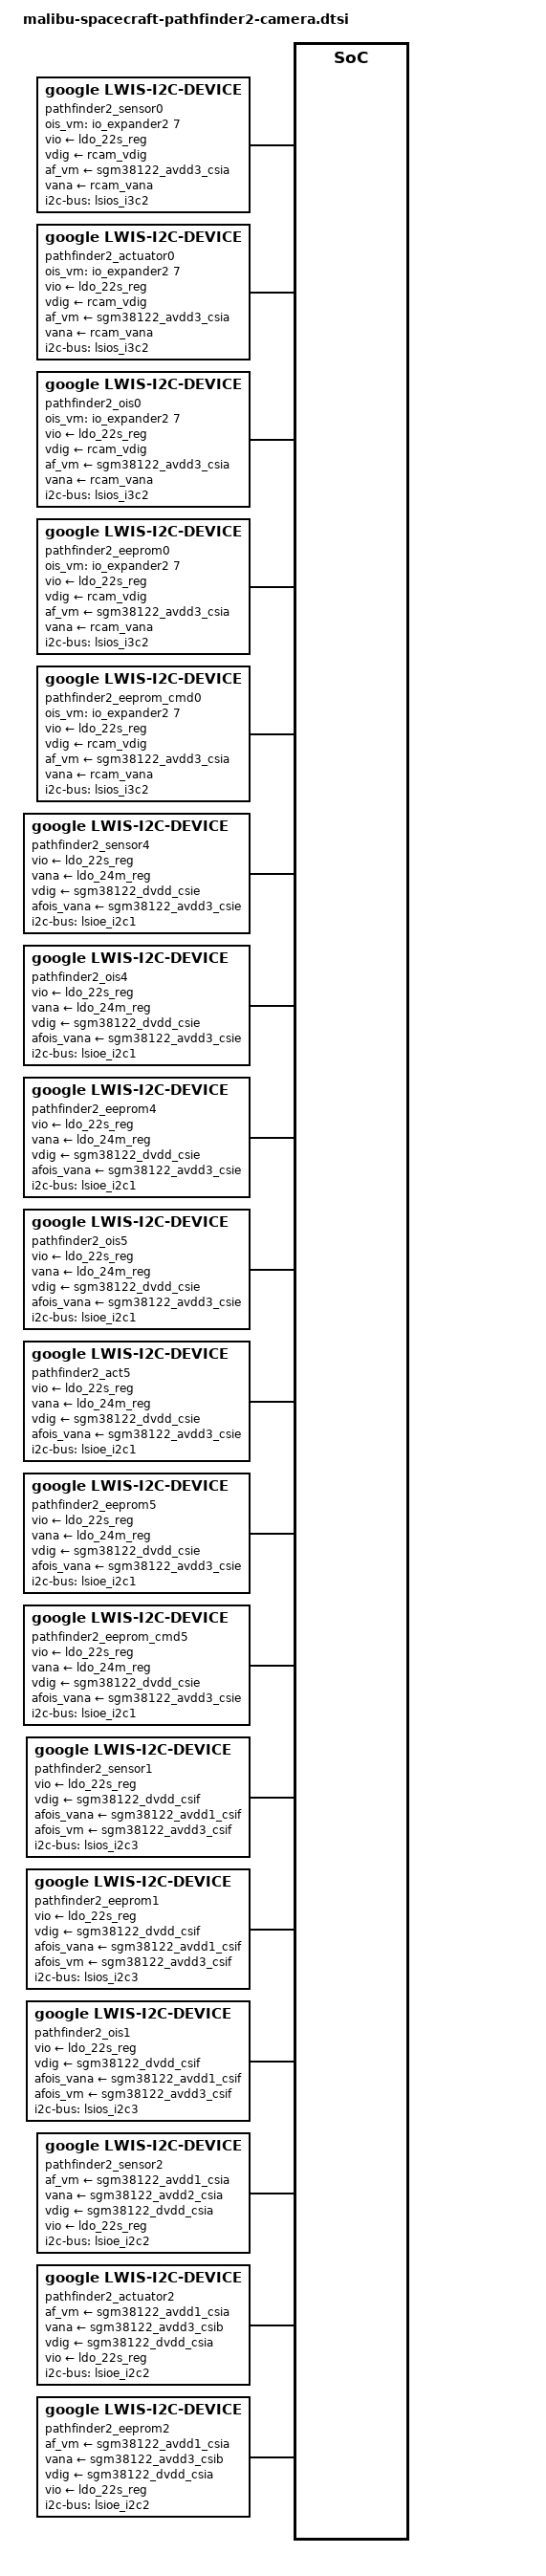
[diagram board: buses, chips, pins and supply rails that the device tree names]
// SPDX-License-Identifier: GPL-2.0-only
/*
 * camera lwis device tree for spacecraft
 *
 * Copyright 2025 Google LLC.
 *
 */

#include <dt-bindings/gpio/gpio.h>

/ {
	fragment@lwiscamera {
		target-path = "/";
		__overlay__ {
			/* Power sequence for REAR MAIN CAMERA */
			pathfinder2_rear_main_camera_power_seq: pathfinder2_module_power_seq@0 {
				power-up-seqs =
					"vio",
					"vana",
					"vdig",
					"vm_vana_enable",
					"af_vm",
					"ois_vm",
					"mclk_on",
					"vsync_on",
					"resume";
				power-up-seq-types =
					"regulator",
					"regulator",
					"regulator",
					"gpio",
					"regulator",
					"gpio",
					"pinctrl",
					"pinctrl",
					"controller";
				power-up-seq-delays-us =
					<1500
					 0
					 1000
					 1000
					 0
					 0
					 6100
					 0
					 0>;

				power-down-seqs =
					"suspend",
					"vsync_off",
					"mclk_off",
					"ois_vm",
					"af_vm",
					"vm_vana_enable",
					"vdig",
					"vana",
					"vio";

				power-down-seq-types =
					"controller",
					"pinctrl",
					"pinctrl",
					"gpio",
					"regulator",
					"gpio",
					"regulator",
					"regulator",
					"regulator";
				power-down-seq-delays-us =
					<0
					 0
					 1000
					 0
					 1000
					 1000
					 0
					 1000
					 200>;
			};

			/* REAR CAMERA BASTET CSIB */
			pathfinder2_sensor0: pathfinder2_sensor@0 {
				compatible = "google,lwis-i2c-device";

				/* Device node name */
				node-name = "sensor-bastet";

				/* I2C */
				i2c-bus = <&lsios_i3c2>;
				i2c-addr = <0x3D>;

				/* Power up mode */
				lwis,power-up-to-suspend;

				/* Registers */
				reg-addr-bitwidth = <16>;
				reg-value-bitwidth = <16>;

				/* GPIOs */
				reset-gpios = <AP2RCAM_RST_L(GPIO_ACTIVE_HIGH)>;
				vm_vana_enable-gpios = <PMICM2RCAM_AFOIS_VANA_EN(GPIO_ACTIVE_HIGH)>;

				/* Power supplies */
				vio-supply = <&ldo_22s_reg>;
				vdig-supply = <&rcam_vdig>;
				af_vm-supply = <&sgm38122_avdd3_csia>;
				ois_vm-gpios = <&io_expander2 7 GPIO_ACTIVE_HIGH>;
				vana-supply = <&rcam_vana>;

				/* Power domains: cpm_clk */
				power-domains = <&sswrp_lsio_s_pd>;

				clocks = <&lsio_s_m4_clk>;
				clock-names = "MCLK4";
				clock-rates = <24576000>;

				/* MCLK + VSYNC Control*/
				pinctrl-names = "mclk_on", "mclk_off", "vsync_on", "vsync_off";
				pinctrl-0 = <&ap2rcam_mclk_24mhz>;
				pinctrl-1 = <&ap2rcam_mclk_24mhz_sleep>;
				pinctrl-2 = <&rcam2ap_vsync>;
				pinctrl-3 = <&rcam2ap_vsync_sleep>;

				/* Power sequence */
				power-seq = <&pathfinder2_rear_main_camera_power_seq>;

				/* resume sequence */
				resume-seqs = "reset";
				resume-seq-types = "gpio";
				resume-seq-delays-us = <13000>;

				/* suspend sequence */
				suspend-seqs = "reset";
				suspend-seq-types = "gpio";
				suspend-seq-delays-us = <1000>;

				/* Thread priority */
				transaction-thread-priority = <99>;

				i2c-lock-group-id = <0>;
				transaction-process-limit = <20>;
			};

			/* Actuator CORNERFOLK for BASTET */
			pathfinder2_actuator0: pathfinder2_actuator@0 {
				compatible = "google,lwis-i2c-device";

				/* Device node name */
				node-name = "act-cornerfolk-bastet";

				/* I2C */
				i2c-bus = <&lsios_i3c2>;
				i2c-addr = <0x0C>;

				/* Registers */
				reg-addr-bitwidth = <8>;
				reg-value-bitwidth = <8>;

				/* GPIOs */
				reset-gpios = <AP2RCAM_RST_L(GPIO_ACTIVE_HIGH)>;
				vm_vana_enable-gpios = <PMICM2RCAM_AFOIS_VANA_EN(GPIO_ACTIVE_HIGH)>;

				/* Power supplies */
				vio-supply = <&ldo_22s_reg>;
				vdig-supply = <&rcam_vdig>;
				af_vm-supply = <&sgm38122_avdd3_csia>;
				ois_vm-gpios = <&io_expander2 7 GPIO_ACTIVE_HIGH>;
				vana-supply = <&rcam_vana>;

				/* MCLK + VSYNC Control*/
				pinctrl-names = "mclk_on", "mclk_off", "vsync_on", "vsync_off";
				pinctrl-0 = <&ap2rcam_mclk_24mhz>;
				pinctrl-1 = <&ap2rcam_mclk_24mhz_sleep>;
				pinctrl-2 = <&rcam2ap_vsync>;
				pinctrl-3 = <&rcam2ap_vsync_sleep>;

				/* Power sequence */
				power-seq = <&pathfinder2_rear_main_camera_power_seq>;

				/* Thread priority */
				transaction-thread-priority = <99>;

				i2c-lock-group-id = <0>;
			};

			/* OIS VESTA for BASTET */
			pathfinder2_ois0: pathfinder2_ois@0 {
				compatible = "google,lwis-i2c-device";

				/* Device node name */
				node-name = "ois-vesta";

				/* I2C */
				i2c-bus = <&lsios_i3c2>;
				i2c-addr = <0x3C>;

				/* Registers */
				reg-addr-bitwidth = <16>;
				reg-value-bitwidth = <8>;

				/* GPIOs */
				reset-gpios = <AP2RCAM_RST_L(GPIO_ACTIVE_HIGH)>;
				vm_vana_enable-gpios = <PMICM2RCAM_AFOIS_VANA_EN(GPIO_ACTIVE_HIGH)>;

				/* Power supplies */
				vio-supply = <&ldo_22s_reg>;
				vdig-supply = <&rcam_vdig>;
				af_vm-supply = <&sgm38122_avdd3_csia>;
				ois_vm-gpios = <&io_expander2 7 GPIO_ACTIVE_HIGH>;
				vana-supply = <&rcam_vana>;

				/* MCLK + VSYNC Control*/
				pinctrl-names = "mclk_on", "mclk_off", "vsync_on", "vsync_off";
				pinctrl-0 = <&ap2rcam_mclk_24mhz>;
				pinctrl-1 = <&ap2rcam_mclk_24mhz_sleep>;
				pinctrl-2 = <&rcam2ap_vsync>;
				pinctrl-3 = <&rcam2ap_vsync_sleep>;

				/* Power sequence */
				power-seq = <&pathfinder2_rear_main_camera_power_seq>;

				/* Thread priority */
				transaction-thread-priority = <99>;

				i2c-lock-group-id = <0>;
			};

			/* EEPROM VESTA for BASTET */
			pathfinder2_eeprom0: pathfinder2_eeprom@0 {
				compatible = "google,lwis-i2c-device";

				/* Device node name */
				node-name = "eeprom-vesta";

				/* I2C */
				i2c-bus = <&lsios_i3c2>;
				i2c-addr = <0x51>;

				/* Registers */
				reg-addr-bitwidth = <16>;
				reg-value-bitwidth = <32>;

				/* GPIOs */
				reset-gpios = <AP2RCAM_RST_L(GPIO_ACTIVE_HIGH)>;
				vm_vana_enable-gpios = <PMICM2RCAM_AFOIS_VANA_EN(GPIO_ACTIVE_HIGH)>;

				/* Power supplies */
				vio-supply = <&ldo_22s_reg>;
				vdig-supply = <&rcam_vdig>;
				af_vm-supply = <&sgm38122_avdd3_csia>;
				ois_vm-gpios = <&io_expander2 7 GPIO_ACTIVE_HIGH>;
				vana-supply = <&rcam_vana>;

				/* MCLK + VSYNC Control*/
				pinctrl-names = "mclk_on", "mclk_off", "vsync_on", "vsync_off";
				pinctrl-0 = <&ap2rcam_mclk_24mhz>;
				pinctrl-1 = <&ap2rcam_mclk_24mhz_sleep>;
				pinctrl-2 = <&rcam2ap_vsync>;
				pinctrl-3 = <&rcam2ap_vsync_sleep>;

				/* Power sequence */
				power-seq = <&pathfinder2_rear_main_camera_power_seq>;

				/* Thread priority */
				/* Match with other bus devices */
				transaction-thread-priority = <99>;

				i2c-lock-group-id = <0>;
			};

			pathfinder2_eeprom_cmd0: pathfinder2_eeprom_cmd@0 {
				compatible = "google,lwis-i2c-device";

				/* Device node name */
				node-name = "eeprom-cmd-vesta";

				/* I2C */
				i2c-bus = <&lsios_i3c2>;
				i2c-addr = <0x51>;

				/* Registers */
				reg-addr-bitwidth = <16>;
				reg-value-bitwidth = <8>;

				/* GPIOs */
				reset-gpios = <AP2RCAM_RST_L(GPIO_ACTIVE_HIGH)>;
				vm_vana_enable-gpios = <PMICM2RCAM_AFOIS_VANA_EN(GPIO_ACTIVE_HIGH)>;

				/* Power supplies */
				vio-supply = <&ldo_22s_reg>;
				vdig-supply = <&rcam_vdig>;
				af_vm-supply = <&sgm38122_avdd3_csia>;
				ois_vm-gpios = <&io_expander2 7 GPIO_ACTIVE_HIGH>;
				vana-supply = <&rcam_vana>;

				/* MCLK + VSYNC Control*/
				pinctrl-names = "mclk_on", "mclk_off", "vsync_on", "vsync_off";
				pinctrl-0 = <&ap2rcam_mclk_24mhz>;
				pinctrl-1 = <&ap2rcam_mclk_24mhz_sleep>;
				pinctrl-2 = <&rcam2ap_vsync>;
				pinctrl-3 = <&rcam2ap_vsync_sleep>;

				/* Power sequence */
				power-seq = <&pathfinder2_rear_main_camera_power_seq>;

				/* Thread priority */
				/* Match with other bus devices */
				transaction-thread-priority = <99>;

				i2c-lock-group-id = <0>;
			};

			/* Power sequence for REAR TELE CAMERA */
			pathfinder2_rear_tele_camera_power_seq: pathfinder2_module_power_seq@4 {
				power-up-seqs =
					"vio",
					"vana",
					"vdig",
					"afois_vana",
					"af_vm",
					"reset",
					"mclk_on",
					"resume";
				power-up-seq-types =
					"regulator",
					"regulator",
					"regulator",
					"regulator",
					"regulator",
					"gpio",
					"pinctrl",
					"controller";
				power-up-seq-delays-us =
					<2500
					 0
					 0
					 1000
					 1000
					 0
					 1000
					 0>;

				power-down-seqs =
					"suspend",
					"mclk_off",
					"reset",
					"af_vm",
					"afois_vana",
					"vdig",
					"vana",
					"vio";
				power-down-seq-types =
					"controller",
					"pinctrl",
					"gpio",
					"regulator",
					"regulator",
					"regulator",
					"regulator",
					"regulator";
				power-down-seq-delays-us =
					<0
					 1000
					 1000
					 1000
					 1000
					 0
					 1000
					 1000>;
			};

			/* REAR TELE CAMERA BARGHEST CSIE */
			pathfinder2_sensor4: pathfinder2_sensor@4 {
				compatible = "google,lwis-i2c-device";

				/* Device node name */
				node-name = "sensor-barghest-tele-pathfinder";

				/* I2C */
				i2c-bus = <&lsioe_i2c1>;
				i2c-addr = <0x2D>;
				/* I3C */
				/* i3c-enabled; */
				/* i3c-dcr = <130>; */

				/* Registers */
				reg-addr-bitwidth = <16>;
				reg-value-bitwidth = <16>;

				/* I2C OTP settings (reg, val) */
				lwis,i2c-otp;
				i2c-otp-settings =
					<0xFCFC 0x4000
					 0x6010 0x0001>;
				i2c-otp-settle-time = <10000>;

				/* GPIOs */
				/* AP2FCAM0_RST_L -> XLSIOE_GPIO20 */
				reset-gpios =
					<AP2FCAM0_RST_L(GPIO_ACTIVE_HIGH)>;

				/* Power supplies */
				vio-supply = <&ldo_22s_reg>; /* Sensor IOVDD */
				vana-supply = <&ldo_24m_reg>; /* Sensor AVDD */
				vdig-supply = <&sgm38122_dvdd_csie>; /* Sensor DVDD */
				afois_vana-supply = <&sgm38122_avdd3_csie>; /* AF/OIS Driver IC */
				af_vm-supply = <&sgm38122_avdd1_csie>; /* AF VCM */

				/* Power domains: cpm_clk */
				power-domains = <&sswrp_lsio_s_pd>;

				clocks = <&lsio_s_m6_clk>;
				clock-names = "MCLK6";
				clock-rates = <24576000>;

				/* MCLK Control */
				pinctrl-names = "mclk_on", "mclk_off";
				pinctrl-0 = <&ap2fcam0_mclk_24mhz>;
				pinctrl-1 = <&ap2fcam0_mclk_24mhz_sleep>;

				/* Power sequence */
				power-seq = <&pathfinder2_rear_tele_camera_power_seq>;

				/* Thread priority */
				transaction-thread-priority = <99>;

				i2c-lock-group-id = <4>;
			};

			/* OIS CHONKY for TELE BARGHEST */
			pathfinder2_ois4: pathfinder2_ois@4 {
				compatible = "google,lwis-i2c-device";

				/* Device node name */
				node-name = "ois-chonky-barghest";

				/* I2C */
				i2c-bus = <&lsioe_i2c1>;
				i2c-addr = <0x61>;

				/* Registers */
				reg-addr-bitwidth = <16>;
				reg-value-bitwidth = <8>;

				/* GPIOs */
				/* AP2FCAM0_RST_L -> XLSIOE_GPIO20 */
				reset-gpios =
					<AP2FCAM0_RST_L(GPIO_ACTIVE_HIGH)>;

				/* Power supplies */
				vio-supply = <&ldo_22s_reg>; /* Sensor IOVDD */
				vana-supply = <&ldo_24m_reg>; /* Sensor AVDD */
				vdig-supply = <&sgm38122_dvdd_csie>; /* Sensor DVDD */
				afois_vana-supply = <&sgm38122_avdd3_csie>; /* AF/OIS Driver IC */
				af_vm-supply = <&sgm38122_avdd1_csie>; /* AF VCM */

				/* MCLK Control */
				pinctrl-names = "mclk_on", "mclk_off";
				pinctrl-0 = <&ap2fcam0_mclk_24mhz>;
				pinctrl-1 = <&ap2fcam0_mclk_24mhz_sleep>;

				/* Power sequence */
				power-seq = <&pathfinder2_rear_tele_camera_power_seq>;

				/* Thread priority */
				transaction-thread-priority = <99>;

				i2c-lock-group-id = <4>;
				lwis,disable-group-transfer;
			};

			/* EEPROM CHONKY for TELE BARGHEST */
			pathfinder2_eeprom4: pathfinder2_eeprom@4 {
				compatible = "google,lwis-i2c-device";

				/* Device node name */
				node-name = "eeprom-chonky-barghest";

				/* I2C */
				i2c-bus = <&lsioe_i2c1>;
				i2c-addr = <0x61>;

				/* Registers */
				reg-addr-bitwidth = <16>;
				reg-value-bitwidth = <8>;

				/* GPIOs */
				/* AP2FCAM0_RST_L -> XLSIOE_GPIO20 */
				reset-gpios =
					<AP2FCAM0_RST_L(GPIO_ACTIVE_HIGH)>;

				/* Power supplies */
				vio-supply = <&ldo_22s_reg>; /* Sensor IOVDD */
				vana-supply = <&ldo_24m_reg>; /* Sensor AVDD */
				vdig-supply = <&sgm38122_dvdd_csie>; /* Sensor DVDD */
				afois_vana-supply = <&sgm38122_avdd3_csie>; /* AF/OIS Driver IC */
				af_vm-supply = <&sgm38122_avdd1_csie>; /* AF VCM */

				/* MCLK Control */
				pinctrl-names = "mclk_on", "mclk_off";
				pinctrl-0 = <&ap2fcam0_mclk_24mhz>;
				pinctrl-1 = <&ap2fcam0_mclk_24mhz_sleep>;

				/* Power sequence */
				power-seq = <&pathfinder2_rear_tele_camera_power_seq>;

				/* Thread priority */
				/* Match with other bus devices */
				transaction-thread-priority = <99>;

				i2c-lock-group-id = <4>;
				lwis,disable-group-transfer;
			};

			/* OIS VESTA for TELE BARGHEST */
			pathfinder2_ois5: pathfinder2_ois@5 {
				compatible = "google,lwis-i2c-device";

				/* Device node name */
				node-name = "ois-vesta-barghest";

				/* I2C */
				i2c-bus = <&lsioe_i2c1>;
				i2c-addr = <0x3C>;

				/* Registers */
				reg-addr-bitwidth = <16>;
				reg-value-bitwidth = <8>;

				/* GPIOs */
				/* AP2FCAM0_RST_L -> XLSIOE_GPIO20 */
				reset-gpios =
					<AP2FCAM0_RST_L(GPIO_ACTIVE_HIGH)>;

				/* Power supplies */
				vio-supply = <&ldo_22s_reg>; /* Sensor IOVDD */
				vana-supply = <&ldo_24m_reg>; /* Sensor AVDD */
				vdig-supply = <&sgm38122_dvdd_csie>; /* Sensor DVDD */
				afois_vana-supply = <&sgm38122_avdd3_csie>; /* AF/OIS Driver IC */
				af_vm-supply = <&sgm38122_avdd1_csie>; /* AF VCM */

				/* MCLK Control */
				pinctrl-names = "mclk_on", "mclk_off";
				pinctrl-0 = <&ap2fcam0_mclk_24mhz>;
				pinctrl-1 = <&ap2fcam0_mclk_24mhz_sleep>;

				/* Power sequence */
				power-seq = <&pathfinder2_rear_tele_camera_power_seq>;

				/* Thread priority */
				transaction-thread-priority = <99>;

				i2c-lock-group-id = <4>;
			};

			/* Actuator CORNERFOLK for TELE BARGHEST */
			pathfinder2_act5: pathfinder2_act@5 {
				compatible = "google,lwis-i2c-device";

				/* Device node name */
				node-name = "act-cornerfolk-barghest";

				/* I2C */
				i2c-bus = <&lsioe_i2c1>;
				i2c-addr = <0x0C>;

				/* Registers */
				reg-addr-bitwidth = <8>;
				reg-value-bitwidth = <8>;

				/* GPIOs */
				/* AP2FCAM0_RST_L -> XLSIOE_GPIO20 */
				reset-gpios =
					<AP2FCAM0_RST_L(GPIO_ACTIVE_HIGH)>;

				/* Power supplies */
				vio-supply = <&ldo_22s_reg>; /* Sensor IOVDD */
				vana-supply = <&ldo_24m_reg>; /* Sensor AVDD */
				vdig-supply = <&sgm38122_dvdd_csie>; /* Sensor DVDD */
				afois_vana-supply = <&sgm38122_avdd3_csie>; /* AF/OIS Driver IC */
				af_vm-supply = <&sgm38122_avdd1_csie>; /* AF VCM */

				/* MCLK Control */
				pinctrl-names = "mclk_on", "mclk_off";
				pinctrl-0 = <&ap2fcam0_mclk_24mhz>;
				pinctrl-1 = <&ap2fcam0_mclk_24mhz_sleep>;

				/* Power sequence */
				power-seq = <&pathfinder2_rear_tele_camera_power_seq>;

				/* Thread priority */
				transaction-thread-priority = <99>;

				i2c-lock-group-id = <4>;
			};

			/* EEPROM VESTA for TELE BARGHEST */
			pathfinder2_eeprom5: pathfinder2_eeprom@5 {
				compatible = "google,lwis-i2c-device";

				/* Device node name */
				node-name = "eeprom-vesta-barghest";

				/* I2C */
				i2c-bus = <&lsioe_i2c1>;
				i2c-addr = <0x51>;

				/* Registers */
				reg-addr-bitwidth = <16>;
				reg-value-bitwidth = <32>;

				/* GPIOs */
				/* AP2FCAM0_RST_L -> XLSIOE_GPIO20 */
				reset-gpios =
					<AP2FCAM0_RST_L(GPIO_ACTIVE_HIGH)>;

				/* Power supplies */
				vio-supply = <&ldo_22s_reg>; /* Sensor IOVDD */
				vana-supply = <&ldo_24m_reg>; /* Sensor AVDD */
				vdig-supply = <&sgm38122_dvdd_csie>; /* Sensor DVDD */
				afois_vana-supply = <&sgm38122_avdd3_csie>; /* AF/OIS Driver IC */
				af_vm-supply = <&sgm38122_avdd1_csie>; /* AF VCM */

				/* MCLK Control */
				pinctrl-names = "mclk_on", "mclk_off";
				pinctrl-0 = <&ap2fcam0_mclk_24mhz>;
				pinctrl-1 = <&ap2fcam0_mclk_24mhz_sleep>;

				/* Power sequence */
				power-seq = <&pathfinder2_rear_tele_camera_power_seq>;

				/* Thread priority */
				/* Match with other bus devices */
				transaction-thread-priority = <99>;

				i2c-lock-group-id = <4>;
			};

			/* EEPROM CMD VESTA for TELE BARGHEST */
			pathfinder2_eeprom_cmd5: pathfinder2_eeprom_cmd@5 {
				compatible = "google,lwis-i2c-device";

				/* Device node name */
				node-name = "eeprom-cmd-vesta-barghest";

				/* I2C */
				i2c-bus = <&lsioe_i2c1>;
				i2c-addr = <0x51>;

				/* Registers */
				reg-addr-bitwidth = <16>;
				reg-value-bitwidth = <8>;

				/* GPIOs */
				/* AP2FCAM0_RST_L -> XLSIOE_GPIO20 */
				reset-gpios =
					<AP2FCAM0_RST_L(GPIO_ACTIVE_HIGH)>;

				/* Power supplies */
				vio-supply = <&ldo_22s_reg>; /* Sensor IOVDD */
				vana-supply = <&ldo_24m_reg>; /* Sensor AVDD */
				vdig-supply = <&sgm38122_dvdd_csie>; /* Sensor DVDD */
				afois_vana-supply = <&sgm38122_avdd3_csie>; /* AF/OIS Driver IC */
				af_vm-supply = <&sgm38122_avdd1_csie>; /* AF VCM */

				/* MCLK Control */
				pinctrl-names = "mclk_on", "mclk_off";
				pinctrl-0 = <&ap2fcam0_mclk_24mhz>;
				pinctrl-1 = <&ap2fcam0_mclk_24mhz_sleep>;

				/* Power sequence */
				power-seq = <&pathfinder2_rear_tele_camera_power_seq>;

				i2c-lock-group-id = <4>;
			};

			pathfinder2_outer_front_camera_power_seq: pathfinder2_module_power_seq@1 {
				/* Power up sequence */
				power-up-seqs =
					"vio",
					"vdig",
					"afois_vana",
					"afois_vm",
					"shared-reset",
					"shared-afois-reset",
					"mclk_on",
					"resume";
				power-up-seq-types =
					"regulator",
					"regulator",
					"regulator",
					"regulator",
					"gpio",
					"gpio",
					"pinctrl",
					"controller";
				power-up-seq-delays-us =
					<1000
					 1000
					 1000
					 1000
					 0
					 0
					 8000
					 0>;

				/* Power down sequence */
				power-down-seqs =
					"suspend",
					"mclk_off",
					"shared-afois-reset",
					"shared-reset",
					"afois_vm",
					"afois_vana",
					"vdig",
					"vio";
				power-down-seq-types =
					"controller",
					"pinctrl",
					"gpio",
					"gpio",
					"regulator",
					"regulator",
					"regulator",
					"regulator";
				power-down-seq-delays-us =
					<0
					 0
					 0
					 0
					 0
					 0
					 0
					 1000>;
			};

			/* CSIF DOKKAEBI TELE as OUTER FRONT */
			pathfinder2_sensor1: pathfinder2_sensor@1 {
				compatible = "google,lwis-i2c-device";

				/* Device node name */
				node-name = "sensor-dokkaebi-tele-pathfinder";

				/* I2C */
				i2c-bus = <&lsios_i2c3>;
				i2c-addr = <0x10>;

				/* Registers */
				reg-addr-bitwidth = <16>;
				reg-value-bitwidth = <16>;

				/* I2C setting in kernel */
				lwis,i2c-otp;
				i2c-otp-settings =
					<0xFCFC 0x4000
					 0x6010 0x0001>;
				i2c-otp-settle-time = <3000>;

				/* GPIOs */
				shared-reset-gpios = <AP2RTCAM_RST_L(GPIO_ACTIVE_HIGH)>;
				shared-afois-reset-gpios =
					<AP2RTCAM_AF_OIS_RST(GPIO_ACTIVE_HIGH)>;

				/* Power supplies */
				vio-supply = <&ldo_22s_reg>;
				vdig-supply = <&sgm38122_dvdd_csif>;
				afois_vana-supply = <&sgm38122_avdd1_csif>;
				afois_vm-supply = <&sgm38122_avdd3_csif>;

				/* Power domains: cpm_clk */
				power-domains = <&sswrp_lsio_s_pd>;

				clocks = <&lsio_s_m5_clk>;
				clock-names = "MCLK5";
				clock-rates = <24576000>;

				/* MCLK Control */
				pinctrl-names = "mclk_on", "mclk_off";
				pinctrl-0 = <&ap2rtcam_mclk_24mhz>;
				pinctrl-1 = <&ap2rtcam_mclk_24mhz_sleep>;

				/* Power sequence */
				power-seq = <&pathfinder2_outer_front_camera_power_seq>;

				/* Thread priority */
				transaction-thread-priority = <99>;

				i2c-lock-group-id = <1>;
			};

			/* EEPROM HUMBABA for DOKKAEBI TELE as OUTER FRONT */
			pathfinder2_eeprom1: pathfinder2_eeprom@1 {
				compatible = "google,lwis-i2c-device";

				/* Device node name */
				node-name = "eeprom-humbaba-dokkaebi-tele-pf";

				/* I2C */
				i2c-bus = <&lsios_i2c3>;
				i2c-addr = <0x61>;

				/* Registers */
				reg-addr-bitwidth = <16>;
				reg-value-bitwidth = <8>;

				/* GPIOs */
				shared-reset-gpios = <AP2RTCAM_RST_L(GPIO_ACTIVE_HIGH)>;
				shared-afois-reset-gpios =
					<AP2RTCAM_AF_OIS_RST(GPIO_ACTIVE_HIGH)>;

				/* Power supplies */
				vio-supply = <&ldo_22s_reg>;
				vdig-supply = <&sgm38122_dvdd_csif>;
				afois_vana-supply = <&sgm38122_avdd1_csif>;
				afois_vm-supply = <&sgm38122_avdd3_csif>;

				/* MCLK Control */
				pinctrl-names = "mclk_on", "mclk_off";
				pinctrl-0 = <&ap2rtcam_mclk_24mhz>;
				pinctrl-1 = <&ap2rtcam_mclk_24mhz_sleep>;

				/* Power sequence */
				power-seq = <&pathfinder2_outer_front_camera_power_seq>;

				/* Thread priority */
				/* Match with other bus devices */
				transaction-thread-priority = <99>;

				i2c-lock-group-id = <1>;
				lwis,disable-group-transfer;
			};

			/* OIS HUMBABA for DOKKAEBI TELE as OUTER FRONT */
			pathfinder2_ois1: pathfinder2_ois@1 {
				compatible = "google,lwis-i2c-device";

				/* Device node name */
				node-name = "ois-humbaba-dokkaebi-tele-pf";

				/* I2C */
				i2c-bus = <&lsios_i2c3>;
				i2c-addr = <0x61>;

				/* Registers */
				reg-addr-bitwidth = <16>;
				reg-value-bitwidth = <8>;

				/* GPIOs */
				shared-reset-gpios = <AP2RTCAM_RST_L(GPIO_ACTIVE_HIGH)>;
				shared-afois-reset-gpios =
					<AP2RTCAM_AF_OIS_RST(GPIO_ACTIVE_HIGH)>;

				/* Power supplies */
				vio-supply = <&ldo_22s_reg>;
				vdig-supply = <&sgm38122_dvdd_csif>;
				afois_vana-supply = <&sgm38122_avdd1_csif>;
				afois_vm-supply = <&sgm38122_avdd3_csif>;

				/* MCLK Control */
				pinctrl-names = "mclk_on", "mclk_off";
				pinctrl-0 = <&ap2rtcam_mclk_24mhz>;
				pinctrl-1 = <&ap2rtcam_mclk_24mhz_sleep>;

				/* Power sequence */
				power-seq = <&pathfinder2_outer_front_camera_power_seq>;

				/* Thread priority */
				transaction-thread-priority = <99>;

				i2c-lock-group-id = <1>;
				lwis,disable-group-transfer;
			};

			pathfinder2_rear_uw_camera_power_seq: pathfinder2_module_power_seq@2 {
				power-up-seqs =
					"vio",
					"resume",
					"vana",
					"vdig",
					"af_vm",
					"reset",
					"mclk_on";
				power-up-seq-types =
					"regulator",
					"controller",
					"regulator",
					"regulator",
					"regulator",
					"gpio",
					"pinctrl";
				power-up-seq-delays-us =
					<2500
					 0
					 0
					 1000
					 0
					 1000
					 10000>;

				power-down-seqs =
					"mclk_off",
					"reset",
					"af_vm",
					"vdig",
					"vana",
					"suspend",
					"vio";
				power-down-seq-types =
					"pinctrl",
					"gpio",
					"regulator",
					"regulator",
					"regulator",
					"controller",
					"regulator";
				power-down-seq-delays-us =
					<1000
					 0
					 1000
					 0
					 1000
					 0
					 0>;
			};

			/* REAR ULTRA WIDE TAOTIE CSIA */
			pathfinder2_sensor2: pathfinder2_sensor@2 {
				compatible = "google,lwis-i2c-device";

				/* Device node name */
				node-name = "sensor-taotie-uw-pf";

				/* I2C */
				i2c-bus = <&lsioe_i2c2>;
				i2c-addr = <0x1A>;

				/* Registers */
				reg-addr-bitwidth = <16>;
				reg-value-bitwidth = <8>;

				/* GPIOs */
				reset-gpios = <AP2RUWCAM_RST_L(GPIO_ACTIVE_HIGH)>;

				/* Power supplies */
				af_vm-supply = <&sgm38122_avdd1_csia>;
				// ois_vm-gpios = <&io_expander1 5 GPIO_ACTIVE_HIGH>;
				vana-supply = <&sgm38122_avdd2_csia>;
				vdig-supply = <&sgm38122_dvdd_csia>;
				vio-supply = <&ldo_22s_reg>;

				/* Power domains: cpm_clk */
				power-domains = <&sswrp_lsio_s_pd>;

				clocks = <&lsio_s_m2_clk>;
				clock-names = "MCLK2";
				clock-rates = <24576000>;

				/* MCLK Control */
				pinctrl-names = "mclk_on", "mclk_off";
				pinctrl-0 = <&ap2ruwcam_mclk_24mhz>;
				pinctrl-1 = <&ap2ruwcam_mclk_24mhz_sleep>;

				/* Power sequence */
				power-seq = <&pathfinder2_rear_uw_camera_power_seq>;

				/* Thread priority */
				transaction-thread-priority = <99>;

				i2c-lock-group-id = <2>;
			};

			/* Actuator for REAR ULTRAWIDE CAMERA */
			pathfinder2_actuator2: pathfinder2_actuator@2 {
				compatible = "google,lwis-i2c-device";

				/* Device node name */
				node-name = "act-cornerfolk-taotie-uw-pf";

				/* I2C */
				i2c-bus = <&lsioe_i2c2>;
				i2c-addr = <0xF>;

				/* Registers */
				reg-addr-bitwidth = <8>;
				reg-value-bitwidth = <8>;

				/* GPIOs */
				reset-gpios = <AP2RUWCAM_RST_L(GPIO_ACTIVE_HIGH)>;

				/* Power supplies */
				af_vm-supply = <&sgm38122_avdd1_csia>;
				// ois_vm-gpios = <&io_expander1 5 GPIO_ACTIVE_HIGH>;
				vana-supply = <&sgm38122_avdd3_csib>;
				vdig-supply = <&sgm38122_dvdd_csia>;
				vio-supply = <&ldo_22s_reg>;

				/* MCLK Control */
				pinctrl-names = "mclk_on", "mclk_off";
				pinctrl-0 = <&ap2ruwcam_mclk_24mhz>;
				pinctrl-1 = <&ap2ruwcam_mclk_24mhz_sleep>;

				/* Power sequence */
				power-seq = <&pathfinder2_rear_uw_camera_power_seq>;

				/* Thread priority */
				transaction-thread-priority = <99>;

				i2c-lock-group-id = <2>;
			};

			/* EEPROM SMAUG for UW */
			pathfinder2_eeprom2: pathfinder2_eeprom@2 {
				compatible = "google,lwis-i2c-device";

				/* Device node name */
				node-name = "eeprom-smaug-taotie-uw-pf";
				/* I2C */
				i2c-bus = <&lsioe_i2c2>;
				i2c-addr = <0x50>;

				/* Registers */
				reg-addr-bitwidth = <16>;
				reg-value-bitwidth = <8>;

				/* GPIOs */
				reset-gpios = <AP2RUWCAM_RST_L(GPIO_ACTIVE_HIGH)>;

				/* Power supplies */
				af_vm-supply = <&sgm38122_avdd1_csia>;
				// ois_vm-gpios = <&io_expander1 5 GPIO_ACTIVE_HIGH>;
				vana-supply = <&sgm38122_avdd3_csib>;
				vdig-supply = <&sgm38122_dvdd_csia>;
				vio-supply = <&ldo_22s_reg>;

				/* MCLK Control */
				pinctrl-names = "mclk_on", "mclk_off";
				pinctrl-0 = <&ap2ruwcam_mclk_24mhz>;
				pinctrl-1 = <&ap2ruwcam_mclk_24mhz_sleep>;

				/* Power sequence */
				power-seq = <&pathfinder2_rear_uw_camera_power_seq>;

				/* Thread priority */
				/* Match with other bus devices */
				transaction-thread-priority = <99>;

				i2c-lock-group-id = <2>;
			};
		};
	};
};
